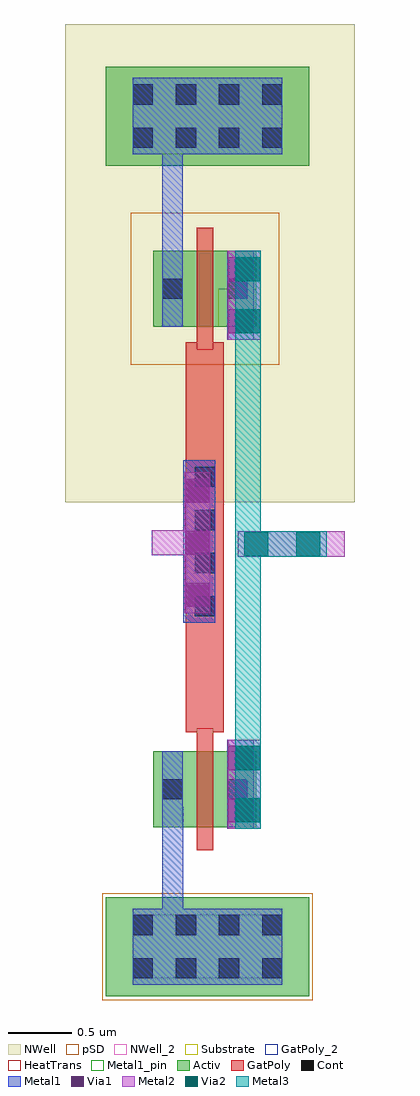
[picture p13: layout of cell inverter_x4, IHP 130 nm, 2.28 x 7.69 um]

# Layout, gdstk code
import gdstk
lib = gdstk.Library(unit=1e-6, precision=1e-09)
def R(c, l, rs):  # rectangles x0, y0, x1, y1
    for r in rs: c.add(gdstk.rectangle(r[:2], r[2:], *l))
def A(c, l, x, y, w, h, nx, ny, dx, dy):  # array of equal rectangles
    R(c, l, [(x+i*dx, y+j*dy, x+i*dx+w, y+j*dy+h) for i in range(nx) for j in range(ny)])
Activ = (1, 0)
GatPoly = (5, 0)
GatPoly_2 = (5, 2)
Cont = (6, 0)
Metal1 = (8, 0)
Metal1_pin = (8, 2)
Metal2 = (10, 0)
pSD = (14, 0)
Via1 = (19, 0)
Via2 = (29, 0)
Metal3 = (30, 0)
NWell = (31, 0)
NWell_2 = (31, 2)
Substrate = (40, 0)
HeatTrans = (51, 0)

via_2_2 = lib.new_cell('Via$2$2')
R(via_2_2, Metal2, [(-0.1,-0.35,0.1,0.35)])
R(via_2_2, Via2, [(-0.095,-0.3,0.095,-0.11), (-0.095,0.11,0.095,0.3)])
R(via_2_2, Metal3, [(-0.1,-0.35,0.1,0.35)])

via_8 = lib.new_cell('Via$8')
R(via_8, Metal1, [(-0.105,-0.35,0.105,0.35)])
R(via_8, Metal2, [(-0.1,-0.35,0.1,0.35)])
R(via_8, Via1, [(-0.095,-0.3,0.095,-0.11), (-0.095,0.11,0.095,0.3)])

via_6_2 = lib.new_cell('Via$6$2')
R(via_6_2, Metal1, [(-0.105,-0.555,0.105,0.555)])
R(via_6_2, Metal2, [(-0.1,-0.555,0.1,0.555)])
A(via_6_2, Via1, -0.095, -0.505, 0.19, 0.19, 1, 3, 0, 0.41)

via_7_2 = lib.new_cell('Via$7$2')
R(via_7_2, Metal2, [(-0.35,-0.1,0.35,0.1)])
R(via_7_2, Via2, [(-0.3,-0.095,-0.11,0.095), (0.11,-0.095,0.3,0.095)])
R(via_7_2, Metal3, [(-0.35,-0.1,0.35,0.1)])

ntap1_4 = lib.new_cell('ntap1$4')
R(ntap1_4, Activ, [(0,0,1.6,0.78)])
A(ntap1_4, Cont, 0.21, 0.14, 0.16, 0.16, 4, 2, 0.34, 0.34)
R(ntap1_4, Metal1, [(0.21,0.09,1.39,0.69)])
R(ntap1_4, Metal1_pin, [(0.21,0.09,1.39,0.69), (0.21,0.14,1.39,0.64)])
R(ntap1_4, NWell, [(-0.24,-0.24,1.84,1.02), (0,0,1.6,0.78)])
R(ntap1_4, NWell_2, [(0,0,1.6,0.78)])
ntap1_4.add(gdstk.Label('well', (0.8,0.01), layer=63, texttype=0))
ntap1_4.add(gdstk.Label('well', (0.8,0.01), layer=31, texttype=0))

ptap1_4 = lib.new_cell('ptap1$4')
R(ptap1_4, Activ, [(0,0,1.6,0.78)])
A(ptap1_4, Cont, 0.21, 0.14, 0.16, 0.16, 4, 2, 0.34, 0.34)
R(ptap1_4, Metal1, [(0.21,0.09,1.39,0.69), (0.21,0.14,1.39,0.64)])
R(ptap1_4, Metal1_pin, [(0.21,0.14,1.39,0.64)])
R(ptap1_4, pSD, [(-0.03,-0.03,1.63,0.81)])
R(ptap1_4, Substrate, [(0,0,1.6,0.78)])
ptap1_4.add(gdstk.Label('sub!', (0.8,0.01), layer=63, texttype=0))
ptap1_4.add(gdstk.Label('sub!', (0.8,0.01), layer=40, texttype=0))

nmos_4 = lib.new_cell('nmos$4')
R(nmos_4, Activ, [(0,0,0.3,0.3), (0,0,0.81,0.6), (0.51,0,0.81,0.3)])
R(nmos_4, GatPoly, [(0.34,-0.18,0.47,0.78)])
R(nmos_4, GatPoly_2, [(0.34,-0.18,0.47,0.78)])
R(nmos_4, Cont, [(0.07,0.22,0.23,0.38), (0.58,0.22,0.74,0.38)])
R(nmos_4, Metal1, [(0.07,0,0.23,0.6), (0.58,0,0.74,0.6)])
R(nmos_4, Metal1_pin, [(0.07,0,0.23,0.6), (0.58,0,0.74,0.6)])
R(nmos_4, HeatTrans, [(0.34,-0.18,0.47,0.78)])
nmos_4.add(gdstk.Label('nmos', (0.405,0.3), layer=63, texttype=0))
nmos_4.add(gdstk.Label('nmos', (0.405,0.3), layer=51, texttype=0))

pmos_4 = lib.new_cell('pmos$4')
R(pmos_4, Activ, [(0,0,0.3,0.3), (0,0,0.81,0.6), (0.51,0,0.81,0.3)])
R(pmos_4, GatPoly, [(0.34,-0.18,0.47,0.78), (0.34,-0.18,0.47,0.78)])
R(pmos_4, Cont, [(0.07,0.22,0.23,0.38), (0.58,0.22,0.74,0.38)])
R(pmos_4, Metal1, [(0.07,0,0.23,0.6), (0.07,0,0.23,0.6), (0.58,0,0.74,0.6), (0.58,0,0.74,0.6)])
R(pmos_4, pSD, [(-0.18,-0.3,0.99,0.9)])
R(pmos_4, NWell, [(-0.31,-0.31,1.12,0.91)])
R(pmos_4, Substrate, [(0.51,0,0.81,0.3)])
R(pmos_4, HeatTrans, [(0.34,-0.18,0.47,0.78)])
pmos_4.add(gdstk.Label('pmos', (0.405,0.3), layer=63, texttype=0))
pmos_4.add(gdstk.Label('pmos', (0.405,0.3), layer=51, texttype=0))

via_5_3 = lib.new_cell('Via$5$3')
R(via_5_3, GatPoly, [(-0.15,-0.66,0.15,0.66)])
A(via_5_3, Cont, -0.08, -0.59, 0.16, 0.16, 1, 4, 0, 0.34)
R(via_5_3, Metal1, [(-0.08,-0.64,0.08,0.64)])

inverter_x4 = lib.new_cell('inverter_x4')
R(inverter_x4, GatPoly, [(-0.265,-2.855,-0.135,-2.655), (-0.35,-2.65,-0.05,-1.81), (-0.35,-0.49,-0.05,0.42)])
R(inverter_x4, Metal1, [(-0.535,-4.45,-0.37,-3.805), (-0.535,-3.805,-0.37,-3.24), (-0.37,-1.79,-0.35,-0.51), (-0.35,-1.79,-0.28,-0.51), (-0.535,0.96,-0.375,1.26), (-0.535,1.245,-0.375,2.235)])
R(inverter_x4, Metal2, [(-0.02,-3.41,0.24,-2.71), (0.53,-1.27,0.9,-1.07), (-0.62,-1.26,-0.28,-1.06), (-0.02,0.44,0.24,1.14)])
R(inverter_x4, Metal3, [(0.04,-3.09,0.24,-2.63), (0.04,-2.7,0.24,-0.24), (0.04,-0.34,0.24,0.76)])
R(inverter_x4, NWell, [(-1.3,-0.84,0.98,0.14), (-1.3,0.14,0.98,0.655), (-1.3,0.655,0.755,2.925), (0.755,0.655,0.98,2.925)])
inverter_x4.add(gdstk.Reference(via_2_2, (0.14,-3.06)))
inverter_x4.add(gdstk.Reference(via_8, (0.08,-3.06)))
inverter_x4.add(gdstk.Reference(via_6_2, (-0.26,-1.16)))
inverter_x4.add(gdstk.Reference(via_7_2, (0.41,-1.17)))
inverter_x4.add(gdstk.Reference(via_2_2, (0.14,0.79)))
inverter_x4.add(gdstk.Reference(via_8, (0.08,0.79)))
inverter_x4.add(gdstk.Reference(ntap1_4, (-0.98,1.81)))
inverter_x4.add(gdstk.Reference(ptap1_4, (-0.98,-4.73)))
inverter_x4.add(gdstk.Reference(nmos_4, (-0.605,-3.4)))
inverter_x4.add(gdstk.Reference(pmos_4, (-0.605,0.54)))
inverter_x4.add(gdstk.Reference(via_5_3, (-0.2,-1.15)))

lib.write_gds('inverter_x4.gds')
